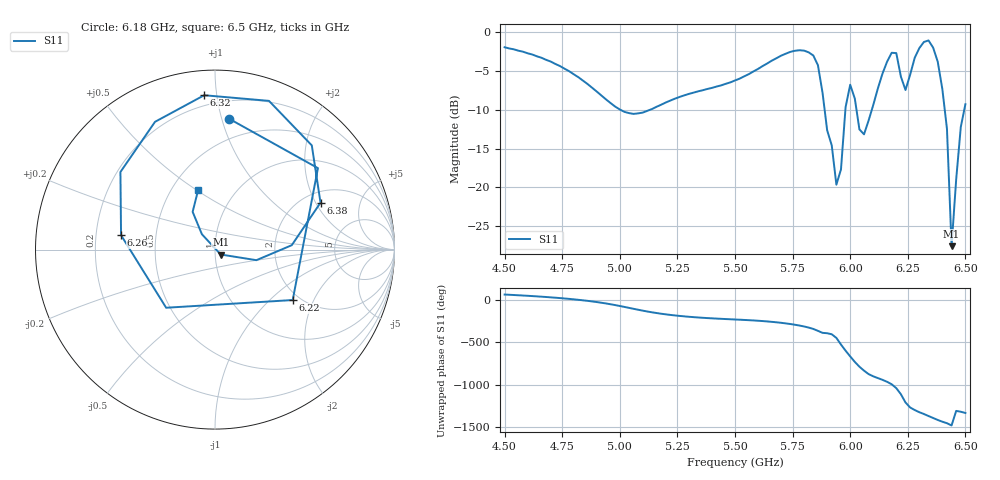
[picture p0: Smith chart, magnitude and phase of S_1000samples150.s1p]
! TOUCHSTONE file generated by CST MICROWAVE STUDIO
! Date and time: Thu Oct 27 04:14:16 2022
! Project name: L.cst
! Parameters = {Di=1.27; Epsilon_r=1.56; InnerDiameter=1.27; Length=2; Lf=10; Lg=60; OuterConductorThickness=0.2921; OuterDiameter=3.6; Wf=3; Wp=41.2; de=1.5; df=6.8; g=0.8; gx=3.50397; gy=1.5567; h=2.34; hf=1.524; px=14.1013; py=13.6952; w=9.7; wx=10.5973; wy=12.1385}
! Header version: 2018
! Port assignment regex: !\s*Touchstone port\s*([0-9]+)\s*=\s*(CST MWS port|CST DS port)\s*([0-9]+|Zmin|Zmax)\s*\(\"(.*)\"\)(\s*mode\s*([0-9]+))?.*
! Touchstone port assignment:
! Touchstone port 1 = CST MWS port 1 ("")
# GHz S DB R 50
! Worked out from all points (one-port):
!   101 points, 4.5 GHz to 6.5 GHz, reference 50 ohm
!   lowest |S11| = -27.6 dB at 6.44 GHz (marker M1), VSWR 1.09, Z = 53.2 - j2.91 ohm
!   |S11| at or under -10 dB: 5.002 GHz to 5.133 GHz (130.6 MHz wide, 2.58 % of centre); 5.889 GHz to 5.979 GHz (90.2 MHz wide, 1.52 % of centre); 6.41 GHz to 6.495 GHz (84.9 MHz wide, 1.32 % of centre) (the widest 3 of 4)
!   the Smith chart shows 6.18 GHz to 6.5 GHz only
!   S11 on the Smith chart (normalised r, x): 6.18 GHz: 0.33, +1.05; 6.22 GHz: 1.83, -1.40; 6.26 GHz: 0.31, +0.07; 6.32 GHz: 0.14, +0.92; 6.38 GHz: 2.46, +2.20; 6.5 GHz: 0.68, +0.50
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4.5  -1.97 59.9
4.76  -4.73 13.7
5  -9.97 -74.8
5.26  -8.36 168.1
5.5  -6.24 126.3
5.66  -3.69 98.6
5.76  -2.42 64.5
5.84  -3.04 14.9
5.88  -7.83 -31.1
5.94  -19.65 -90.4
5.98  -9.67 119.1
6  -6.79 51.9
6.02  -8.56 -12.9
6.06  -13.17 -116.0
6.14  -5.37 136.5
6.18  -2.69 84.0
6.2  -2.72 38.4
6.22  -5.74 -33.0
6.24  -7.47 -130.0
6.26  -5.52 171.3
6.28  -3.33 140.6
6.32  -1.29 94.0
6.34  -1.10 70.0
6.38  -3.83 24.0
6.42  -12.47 -14.3
6.44  -27.56 -40.7
6.48  -12.24 120.6
6.5  -9.30 106.0
